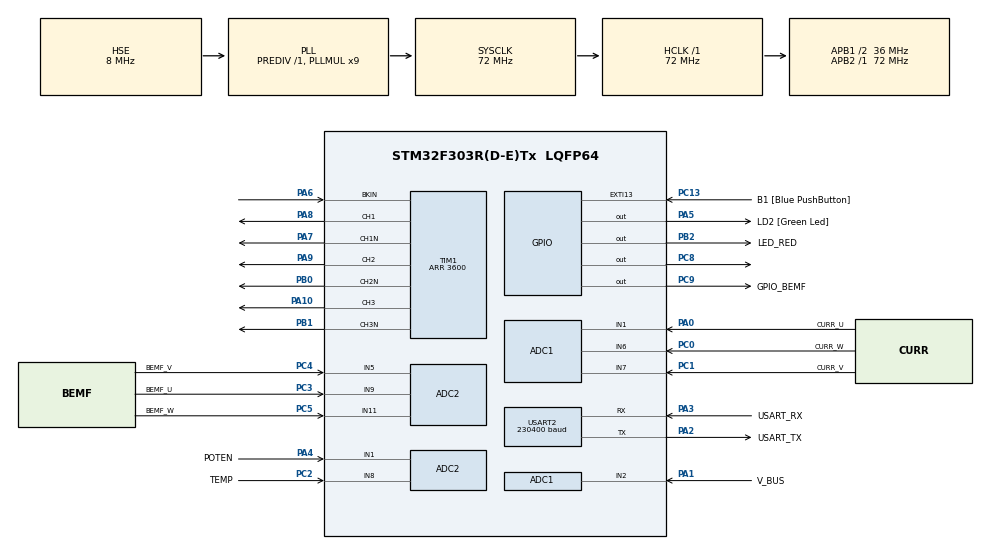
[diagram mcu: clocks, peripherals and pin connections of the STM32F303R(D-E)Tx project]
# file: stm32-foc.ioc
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ADC1.Channel-0\#ChannelRegularConversion=ADC_CHANNEL_2
ADC1.ClockPrescaler=ADC_CLOCK_SYNC_PCLK_DIV1
ADC1.EOCSelection=ADC_EOC_SEQ_CONV
ADC1.ExternalTrigInjecConv=ADC_EXTERNALTRIGINJECCONV_T1_CC4
ADC1.ExternalTrigInjecConvEdge=ADC_EXTERNALTRIGINJECCONV_EDGE_FALLING
ADC1.InjNumberOfConversion=4
ADC1.InjectedChannel-1\#ChannelInjectedConversion=ADC_CHANNEL_1
ADC1.InjectedChannel-2\#ChannelInjectedConversion=ADC_CHANNEL_7
ADC1.InjectedChannel-3\#ChannelInjectedConversion=ADC_CHANNEL_6
ADC1.InjectedChannel-4\#ChannelInjectedConversion=ADC_CHANNEL_2
ADC1.InjectedConvMode=None
ADC1.InjectedOffset-1\#ChannelInjectedConversion=0
ADC1.InjectedOffset-2\#ChannelInjectedConversion=0
ADC1.InjectedOffset-3\#ChannelInjectedConversion=0
ADC1.InjectedOffset-4\#ChannelInjectedConversion=0
ADC1.InjectedOffsetNumber-1\#ChannelInjectedConversion=ADC_OFFSET_NONE
ADC1.InjectedOffsetNumber-2\#ChannelInjectedConversion=ADC_OFFSET_NONE
ADC1.InjectedOffsetNumber-3\#ChannelInjectedConversion=ADC_OFFSET_NONE
ADC1.InjectedOffsetNumber-4\#ChannelInjectedConversion=ADC_OFFSET_NONE
ADC1.InjectedRank-1\#ChannelInjectedConversion=1
ADC1.InjectedRank-2\#ChannelInjectedConversion=2
ADC1.InjectedRank-3\#ChannelInjectedConversion=3
ADC1.InjectedRank-4\#ChannelInjectedConversion=4
ADC1.InjectedSamplingTime-1\#ChannelInjectedConversion=ADC_SAMPLETIME_1CYCLE_5
ADC1.InjectedSamplingTime-2\#ChannelInjectedConversion=ADC_SAMPLETIME_1CYCLE_5
ADC1.InjectedSamplingTime-3\#ChannelInjectedConversion=ADC_SAMPLETIME_1CYCLE_5
ADC1.InjectedSamplingTime-4\#ChannelInjectedConversion=ADC_SAMPLETIME_1CYCLE_5
ADC1.InjectedSamplingTimeOPAMP-1\#ChannelInjectedConversion=ADC_SAMPLETIME_61CYCLES_5
ADC1.InjectedSamplingTimeOPAMP-2\#ChannelInjectedConversion=ADC_SAMPLETIME_61CYCLES_5
ADC1.InjectedSamplingTimeOPAMP-3\#ChannelInjectedConversion=ADC_SAMPLETIME_61CYCLES_5
ADC1.InjectedSamplingTimeOPAMP-4\#ChannelInjectedConversion=ADC_SAMPLETIME_61CYCLES_5
ADC1.NbrOfConversion=1
ADC1.NbrOfConversionFlag=1
ADC1.Offset-0\#ChannelRegularConversion=0
ADC1.OffsetNumber-0\#ChannelRegularConversion=ADC_OFFSET_NONE
ADC1.QueueInjectedContext=DISABLE
ADC1.Rank-0\#ChannelRegularConversion=1
ADC1.Rank1_Channel=ADC_CHANNEL_1
ADC1.Rank2_Channel=ADC_CHANNEL_7
ADC1.Rank3_Channel=ADC_CHANNEL_6
ADC1.Rank4_Channel=ADC_CHANNEL_2
ADC1.SamplingTime-0\#ChannelRegularConversion=ADC_SAMPLETIME_1CYCLE_5
ADC1.SequencerNbRanks=0
ADC1.master=1
ADC2.Channel-0\#ChannelRegularConversion=ADC_CHANNEL_1
ADC2.Channel-1\#ChannelRegularConversion=ADC_CHANNEL_8
ADC2.ClockPrescaler=ADC_CLOCK_SYNC_PCLK_DIV1
ADC2.NbrOfConversion=2
ADC2.NbrOfConversionFlag=1
ADC2.Offset-0\#ChannelRegularConversion=0
ADC2.Offset-1\#ChannelRegularConversion=0
ADC2.OffsetNumber-0\#ChannelRegularConversion=ADC_OFFSET_NONE
ADC2.OffsetNumber-1\#ChannelRegularConversion=ADC_OFFSET_NONE
ADC2.Rank-0\#ChannelRegularConversion=1
ADC2.Rank-1\#ChannelRegularConversion=2
ADC2.SamplingTime-0\#ChannelRegularConversion=ADC_SAMPLETIME_1CYCLE_5
ADC2.SamplingTime-1\#ChannelRegularConversion=ADC_SAMPLETIME_1CYCLE_5
ADC2.SamplingTimeOPAMP-1\#ChannelRegularConversion=ADC_SAMPLETIME_61CYCLES_5
ADC2.SequencerNbRanks=1
FREERTOS.Tasks01=defaultTask,24,128,StartDefaultTask,Default,NULL,Dynamic,NULL,NULL
FREERTOS.configTOTAL_HEAP_SIZE=32768
FREERTOS.configUSE_NEWLIB_REENTRANT=1
Mcu.Family=STM32F3
Mcu.Name=STM32F303R(D-E)Tx
Mcu.Package=LQFP64
NVIC.ADC1_2_IRQn=true\:5\:0\:true\:false\:true\:true\:true\:true\:true
NVIC.PriorityGroup=NVIC_PRIORITYGROUP_4
NVIC.TIM1_TRG_COM_TIM17_IRQn=true\:15\:0\:false\:false\:true\:false\:false\:true\:true
NVIC.TimeBase=TIM1_TRG_COM_TIM17_IRQn
NVIC.TimeBaseIP=TIM17
PA0.GPIO_Label=CURR_U
PA0.Mode=IN1-Single-Ended
PA0.Signal=ADC1_IN1
PA1.GPIO_Label=V_BUS
PA1.Mode=IN2-Single-Ended
PA1.Signal=ADC1_IN2
PA10.Signal=S_TIM1_CH3
PA13.GPIO_Label=TMS
PA13.Mode=Serial_Wire
PA13.Signal=SYS_JTMS-SWDIO
PA14.GPIO_Label=TCK
PA14.Mode=Serial_Wire
PA14.Signal=SYS_JTCK-SWCLK
PA2.GPIO_Label=USART_TX
PA2.GPIO_Mode=GPIO_MODE_AF_PP
PA2.GPIO_PuPd=GPIO_NOPULL
PA2.GPIO_Speed=GPIO_SPEED_FREQ_LOW
PA2.Mode=Asynchronous
PA2.Signal=USART2_TX
PA3.GPIO_Label=USART_RX
PA3.GPIO_Mode=GPIO_MODE_AF_PP
PA3.GPIO_PuPd=GPIO_NOPULL
PA3.GPIO_Speed=GPIO_SPEED_FREQ_LOW
PA3.Mode=Asynchronous
PA3.Signal=USART2_RX
PA4.GPIO_Label=POTEN
PA4.Mode=IN1-Single-Ended
PA4.Signal=ADC2_IN1
PA5.GPIO_Label=LD2 [Green Led]
PA5.GPIO_Mode=GPIO_MODE_OUTPUT_PP
PA5.GPIO_PuPd=GPIO_NOPULL
PA5.GPIO_Speed=GPIO_SPEED_FREQ_LOW
PA5.Signal=GPIO_Output
PA6.Mode=Activate-Break-Input
PA6.Signal=TIM1_BKIN
PA7.Mode=PWM Generation1 CH1 CH1N
PA7.Signal=TIM1_CH1N
PA8.Signal=S_TIM1_CH1
PA9.Signal=S_TIM1_CH2
PB0.Mode=PWM Generation2 CH2 CH2N
PB0.Signal=TIM1_CH2N
PB1.Mode=PWM Generation3 CH3 CH3N
PB1.Signal=TIM1_CH3N
PB2.GPIO_Label=LED_RED
PB2.Signal=GPIO_Output
PB3.GPIO_Label=SWO
PB3.Signal=SYS_JTDO-TRACESWO
PC0.GPIO_Label=CURR_W
PC0.Signal=ADCx_IN6
PC1.GPIO_Label=CURR_V
PC1.Signal=ADCx_IN7
PC13.GPIO_Label=B1 [Blue PushButton]
PC13.GPIO_ModeDefaultEXTI=GPIO_MODE_IT_FALLING
PC13.Signal=GPXTI13
PC14-OSC32_IN.Mode=LSE-External-Oscillator
PC14-OSC32_IN.Signal=RCC_OSC32_IN
PC15-OSC32_OUT.Mode=LSE-External-Oscillator
PC15-OSC32_OUT.Signal=RCC_OSC32_OUT
PC2.GPIO_Label=TEMP
PC2.Signal=ADCx_IN8
PC3.GPIO_Label=BEMF_U
PC3.Signal=ADCx_IN9
PC4.GPIO_Label=BEMF_V
PC4.Mode=IN5-Single-Ended
PC4.Signal=ADC2_IN5
PC5.GPIO_Label=BEMF_W
PC5.Mode=IN11-Single-Ended
PC5.Signal=ADC2_IN11
PC8.Signal=GPIO_Output
PC9.GPIO_Label=GPIO_BEMF
PC9.Signal=GPIO_Output
PF0-OSC_IN.Mode=HSE-External-Clock-Source
PF0-OSC_IN.Signal=RCC_OSC_IN
PF1-OSC_OUT.Signal=RCC_OSC_OUT
ProjectManager.HeapSize=0x600
ProjectManager.StackSize=0xC00
ProjectManager.TargetToolchain=STM32CubeIDE
RCC.AHBFreq_Value=72000000
RCC.APB1CLKDivider=RCC_HCLK_DIV2
RCC.APB1Freq_Value=36000000
RCC.APB1TimFreq_Value=72000000
RCC.APB2Freq_Value=72000000
RCC.APB2TimFreq_Value=72000000
RCC.CortexFreq_Value=72000000
RCC.HCLKFreq_Value=72000000
RCC.HSE_VALUE=8000000
RCC.HSI_VALUE=8000000
RCC.PLLM=8
RCC.PLLMUL=RCC_PLL_MUL9
RCC.PLLN=336
RCC.PLLP=RCC_PLLP_DIV4
RCC.PLLQ=7
RCC.PLLSourceVirtual=RCC_PLLSOURCE_HSE
RCC.RCC_PLLsource_Clock_Source_FROM_HSE=RCC_HSE_PREDIV_DIV2
RCC.SYSCLKFreq_VALUE=72000000
RCC.SYSCLKSourceVirtual=RCC_SYSCLKSOURCE_PLLCLK
RCC.USBFreq_Value=72000000
SH.ADCx_IN6.0=ADC1_IN6,IN6-Single-Ended
SH.ADCx_IN7.0=ADC1_IN7,IN7-Single-Ended
SH.ADCx_IN8.0=ADC2_IN8,IN8-Single-Ended
SH.ADCx_IN9.0=ADC2_IN9,IN9-Single-Ended
SH.S_TIM1_CH1.0=TIM1_CH1,PWM Generation1 CH1 CH1N
SH.S_TIM1_CH2.0=TIM1_CH2,PWM Generation2 CH2 CH2N
SH.S_TIM1_CH3.0=TIM1_CH3,PWM Generation3 CH3 CH3N
TIM1.AutoReloadPreload=TIM_AUTORELOAD_PRELOAD_DISABLE
TIM1.AutomaticOutput=TIM_AUTOMATICOUTPUT_DISABLE
TIM1.BreakPolarity=TIM_BREAKPOLARITY_LOW
TIM1.Channel-PWM\ Generation1\ CH1\ CH1N=TIM_CHANNEL_1
TIM1.Channel-PWM\ Generation2\ CH2\ CH2N=TIM_CHANNEL_2
TIM1.Channel-PWM\ Generation3\ CH3\ CH3N=TIM_CHANNEL_3
TIM1.Channel-PWM\ Generation4\ No\ Output=TIM_CHANNEL_4
TIM1.CounterMode=TIM_COUNTERMODE_CENTERALIGNED1
TIM1.DeadTime=5
TIM1.OCFastMode_PWM-PWM\ Generation1\ CH1\ CH1N=TIM_OCFAST_ENABLE
TIM1.OCFastMode_PWM-PWM\ Generation2\ CH2\ CH2N=TIM_OCFAST_ENABLE
TIM1.OCFastMode_PWM-PWM\ Generation3\ CH3\ CH3N=TIM_OCFAST_ENABLE
TIM1.OCFastMode_PWM-PWM\ Generation4\ No\ Output=TIM_OCFAST_ENABLE
TIM1.OCNIdleState_1=TIM_OCNIDLESTATE_SET
TIM1.OCNIdleState_2=TIM_OCNIDLESTATE_SET
TIM1.OCNIdleState_3=TIM_OCNIDLESTATE_SET
TIM1.OCNPolarity_1=TIM_OCNPOLARITY_LOW
TIM1.OCNPolarity_2=TIM_OCNPOLARITY_LOW
TIM1.OCNPolarity_3=TIM_OCNPOLARITY_LOW
TIM1.OffStateIDLEMode=TIM_OSSI_ENABLE
TIM1.OffStateRunMode=TIM_OSSR_ENABLE
TIM1.Period=3600
TIM1.TIM_MasterOutputTrigger=TIM_TRGO_UPDATE
USART2.BaudRate=230400
USART2.VirtualMode-Asynchronous=VM_ASYNC
VP_FREERTOS_VS_CMSIS_V2.Mode=CMSIS_V2
VP_SYS_VS_tim17.Mode=TIM17
VP_TIM1_VS_ClockSourceINT.Mode=Internal
VP_TIM1_VS_no_output4.Mode=PWM Generation4 No Output
board=NUCLEO-F303RE

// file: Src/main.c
/* USER CODE BEGIN Header */
/**
 ******************************************************************************
 * @file           : main.c
 * @brief          : Main program body
 ******************************************************************************
 * @attention
 *
 * Copyright (c) 2026 STMicroelectronics.
 * All rights reserved.
 *
 * This software is licensed under terms that can be found in the LICENSE file
 * in the root directory of this software component.
 * If no LICENSE file comes with this software, it is provided AS-IS.
 *
 ******************************************************************************
 */
/* USER CODE END Header */
#include "main.h"
#include "cmsis_os.h"
#include "adc.h"
#include "tim.h"
#include "usart.h"
#include "gpio.h"

void SystemClock_Config(void);
void MX_FREERTOS_Init(void);

int main(void)
{

  /* USER CODE BEGIN 1 */
  // Copy the time-critical code (FOC_FAST_CODE, section .ccmram) from flash into CCM SRAM
  // before anything can call it. The startup file only copies .data. Symbols from the
  // stock linker script; an empty section makes this a no-op.
  extern uint32_t _siccmram, _sccmram, _eccmram;
  for (uint32_t *src = &_siccmram, *dst = &_sccmram; dst < &_eccmram;)
  {
    *dst++ = *src++;
  }
  __DSB();
  __ISB(); // Fetch the copied code, not anything prefetched before the copy
  /* USER CODE END 1 */

  /* MCU Configuration--------------------------------------------------------*/

  /* Reset of all peripherals, Initializes the Flash interface and the Systick. */
  HAL_Init();

  /* Configure the system clock */
  SystemClock_Config();

  /* Initialize all configured peripherals */
  MX_GPIO_Init();
  MX_ADC1_Init();
  MX_TIM1_Init();
  MX_USART2_UART_Init();
  MX_ADC2_Init();

  /* Init scheduler */
  osKernelInitialize();  /* Call init function for freertos objects (in cmsis_os2.c) */
  MX_FREERTOS_Init();

  /* Start scheduler */
  osKernelStart();

  /* We should never get here as control is now taken by the scheduler */

  /* Infinite loop */
    while (1)
    {

    }
}

void SystemClock_Config(void)
{
  RCC_OscInitTypeDef RCC_OscInitStruct = {0};
  RCC_ClkInitTypeDef RCC_ClkInitStruct = {0};
  RCC_PeriphCLKInitTypeDef PeriphClkInit = {0};

  /** Initializes the RCC Oscillators according to the specified parameters
  * in the RCC_OscInitTypeDef structure.
  */
  RCC_OscInitStruct.OscillatorType = RCC_OSCILLATORTYPE_HSE;
  RCC_OscInitStruct.HSEState = RCC_HSE_BYPASS;
  RCC_OscInitStruct.HSIState = RCC_HSI_ON;
  RCC_OscInitStruct.PLL.PLLState = RCC_PLL_ON;
  RCC_OscInitStruct.PLL.PLLSource = RCC_PLLSOURCE_HSE;
  RCC_OscInitStruct.PLL.PLLMUL = RCC_PLL_MUL9;
  RCC_OscInitStruct.PLL.PREDIV = RCC_PREDIV_DIV1;
  if (HAL_RCC_OscConfig(&RCC_OscInitStruct) != HAL_OK)
  {
    Error_Handler();
  }

  /** Initializes the CPU, AHB and APB buses clocks
  */
  RCC_ClkInitStruct.ClockType = RCC_CLOCKTYPE_HCLK|RCC_CLOCKTYPE_SYSCLK
                              |RCC_CLOCKTYPE_PCLK1|RCC_CLOCKTYPE_PCLK2;
  RCC_ClkInitStruct.SYSCLKSource = RCC_SYSCLKSOURCE_PLLCLK;
  RCC_ClkInitStruct.AHBCLKDivider = RCC_SYSCLK_DIV1;
  RCC_ClkInitStruct.APB1CLKDivider = RCC_HCLK_DIV2;
  RCC_ClkInitStruct.APB2CLKDivider = RCC_HCLK_DIV1;

  if (HAL_RCC_ClockConfig(&RCC_ClkInitStruct, FLASH_LATENCY_2) != HAL_OK)
  {
    Error_Handler();
  }
  PeriphClkInit.PeriphClockSelection = RCC_PERIPHCLK_USART2|RCC_PERIPHCLK_TIM1;
  PeriphClkInit.Usart2ClockSelection = RCC_USART2CLKSOURCE_PCLK1;
  PeriphClkInit.Tim1ClockSelection = RCC_TIM1CLK_HCLK;
  if (HAL_RCCEx_PeriphCLKConfig(&PeriphClkInit) != HAL_OK)
  {
    Error_Handler();
  }
}

void HAL_TIM_PeriodElapsedCallback(TIM_HandleTypeDef *htim)
{
  if (htim->Instance == TIM17)
  {
    HAL_IncTick();
  }
}

void Error_Handler(void)
{
    __disable_irq();
    while (1)
    {
    }
}

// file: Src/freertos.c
/* USER CODE BEGIN Header */
/**
 ******************************************************************************
 * File Name          : freertos.c
 * Description        : foc-lib demo / bench application for the STM32F303RE port
 *                      (Nucleo-F303RE + X-NUCLEO-IHM08M1)
 ******************************************************************************
 * @attention
 *
 * Copyright (c) 2026 STMicroelectronics.
 * All rights reserved.
 *
 * This software is licensed under terms that can be found in the LICENSE file
 * in the root directory of this software component.
 * If no LICENSE file comes with this software, it is provided AS-IS.
 *
 ******************************************************************************
 */
/* USER CODE END Header */

#include "FreeRTOS.h"
#include "task.h"
#include "main.h"
#include "cmsis_os.h"

/* USER CODE BEGIN Includes */
// How this demo uses foc-lib (see the porting guide at the top of foc_lib.h):
//
//   MX_FREERTOS_Init     TIM1 at PWM_FREQ (TIMER_config), FOC_Init, start the ADC interrupt.
//   ISR (ADC injected    HAL_ADCEx_InjectedConvCpltCallback: ADC counts -> FOC_Update -> TIM1
//   end of sequence)     compare registers, and the bridge on/off for foc.outputs_enabled.
//   StartDefaultTask     the demo sequence, one function per step:
//                        1. PWM on, measure the zero-current offsets   Measure_Current_Offsets
//                           (motor at rest)
//                        2. check the bus voltage                      Bus_Voltage_OK
//                        3. calibrate Rs, Ld, Lq, apply them           Calibrate
//                           (optional; FOC_Init has the foc_lib.h defaults)
//                        4. saliency sweep (diagnostic only,           Saliency_Sweep
//                           RUN_SALIENCY_SWEEP)
//                        5. speed test with a log (RUN_FOC_TEST,       Speed_Test
//                           TEST_PROFILE): start, follow the profile,
//                           report and stop, coast check
//
// The control runs entirely in the ISR (current loop, observers, startup, speed loop at 1 kHz):
// a task only sets targets (foc.speed_ref / foc.is_ref) and reads the state. Keep printf and
// anything blocking out of the ISR.
#include <stdio.h>
#include <math.h>
#include "usart.h"
#include "tim.h"
#include "adc.h"
#include "foc_lib.h"
/* USER CODE END Includes */

/* USER CODE BEGIN PD */
// ---- Demo options (which steps run, and the speed test) ---------------------
#define RUN_SALIENCY_SWEEP 1 // 1: after calibration, Ld-type injection at SWEEP_POINTS angles (diagnostic)
#define SWEEP_POINTS 24
#define RUN_FOC_TEST 1 // 1: run the speed test after calibration; 0: stop there
#define RUN_DIRECTION NORMAL_DIRECTION // NORMAL_DIRECTION or REVERSE_DIRECTION
#define TEST_I_MAX 5.0f // Current cap during the test (A). Recommended on a bench: well below I_RATED,
                        // and keep the input power below what the supply can deliver
#define TEST_PROFILE 5 // Speed reference over time (rad/s el), see Test_Speed_Ref:
                       // 0: 1500, 2500 from 3 s
                       // 1: gentle staircase for a propeller load: 1500, ramps to 2000 and 2500
                       //    (the bench 12 V 5 A supply collapses at ~20 W: slow ramps, no 3000)
                       // 2: 1500, 150 from 2.5 s (coasts down through eSMO -> HFI), 0 from 8.5 s,
                       //    1500 from 10 s
                       // 3: slow sweep down for HFI_SHADOW_TEST: 1500, then 800 -> 100 at 100 rad/s^2
                       // 4: HFI from standstill: 150, 0 from 5 s, 150 from 6.5 s, 1500 from 8 s
                       // 5: low-speed steps: 1500, 150 from 2 s, 75, 50, 20, 0 every 1.5 s,
                       //    150 from 9.5 s, 1500 from 11 s (without HFI the motor stops below
                       //    FOC_Min_Speed and restarts above it)
#define HFI_SHADOW_TEST 0 // Test only. 1: measure the eSMO's low-speed limit (with TEST_PROFILE 3,
                          // then tools/hfi_threshold.py on the log): Align -> I-f start, the HFI
                          // tracker is logged beside the eSMO but never takes control
#ifndef ADC_INJ_SMP
#define ADC_INJ_SMP 0 // Injected-channel ADC sampling time code: 0 = keep CubeMX (1.5 cycles), 4 = 19.5, 5 = 61.5
#endif

// ---- Constants ---------------------------------------------------------------
#define OFFSET_SAMPLES 64 // Zero-current offset: average of this many samples, 1 ms apart
#define APP_PI 3.14159265359f // For log conversions (foc-lib keeps its constants internal)
#define APP_TWO_PI 6.28318530718f

/* USER CODE END PD */

/* USER CODE BEGIN Variables */
FOC_t foc; // The drive. Written by FOC_Update in the ISR; tasks set targets and read state.

// ISR execution time in CPU cycles (DWT cycle counter, 72 MHz). Budget: 72e6 / PWM_FREQ per period
// (3600 at 20 kHz). isr_cyc: the callback alone. irq_cyc: from ADC1_2_IRQHandler entry (stamped
// into irq_cyc0 in stm32f3xx_it.c) to the end of the callback, i.e. with the dispatch.
// PC8 is also high for the callback's duration (scope).
static volatile uint32_t isr_cyc_last, isr_cyc_max;
volatile uint32_t irq_cyc0;
static volatile uint32_t irq_cyc_last, irq_cyc_max;
/* USER CODE END Variables */
/* Definitions for defaultTask */
osThreadId_t defaultTaskHandle;
const osThreadAttr_t defaultTask_attributes = {
    .name = "defaultTask",
    .stack_size = 128 * 4,
    .priority = (osPriority_t)osPriorityNormal,
};

/* USER CODE BEGIN FunctionPrototypes */
// Recommendation: the default task has 512 B of stack (set in CubeMX / stm32-foc.ioc). printf with
// floats uses much of it, which is why the log prints integers in short printf calls. Raise the
// task's stack in CubeMX before adding deeper code here.

// ============================================================================
// Port layer: console, PWM timer, bridge
// ============================================================================

// printf -> USART2 (ST-Link virtual COM port, 230400 8N1)
#ifndef __PLATFORMIO__
#ifdef __GNUC__
#define PUTCHAR_PROTOTYPE int __io_putchar(int ch)
#else
#define PUTCHAR_PROTOTYPE int fputc(int ch, FILE *f)
#endif
PUTCHAR_PROTOTYPE
{
    HAL_UART_Transmit(&huart2, (uint8_t *)&ch, 1, 0xFFFF);
    return ch;
}
#else
int _write(int file, char *ptr, int len)
{
    HAL_UART_Transmit(&huart2, (uint8_t *)ptr, len, 0xFFFF);
    return len;
}
#endif

// Timer input clock: the APB clock, doubled when the APB prescaler is not 1
static uint32_t get_timer_clock(TIM_HandleTypeDef *htim)
{
    if (htim->Instance == TIM1 || htim->Instance == TIM8)
    {
        uint32_t pclk = HAL_RCC_GetPCLK2Freq(); // On APB2
        return ((RCC->CFGR & RCC_CFGR_PPRE2) != RCC_CFGR_PPRE2_DIV1) ? 2 * pclk : pclk;
    }
    uint32_t pclk = HAL_RCC_GetPCLK1Freq(); // On APB1
    return ((RCC->CFGR & RCC_CFGR_PPRE1) != RCC_CFGR_PPRE1_DIV1) ? 2 * pclk : pclk;
}

// Set TIM1 (centre-aligned) to pwm_freq and store its period in foc->pwm_resolution, which
// FOC_Init then takes as 100 % duty. This overrides the CubeMX PSC/ARR at run time.
int TIMER_config(TIM_HandleTypeDef *timer, FOC_t *foc, float pwm_freq)
{
    if (foc == NULL || timer == NULL)
        return 0;

    const uint32_t timer_clock = get_timer_clock(timer);

    // Centre-aligned: the counter goes up and down, so one PWM period is 2 * (ARR + 1) clocks
    uint32_t prescaler = 0;
    uint32_t period = (timer_clock / (2 * pwm_freq)) - 1;
    if (period > 0xFFFF)
    {
        prescaler = period / 0xFFFF;
        period = (timer_clock / (2 * pwm_freq * (prescaler + 1))) - 1;
    }
    timer->Instance->PSC = prescaler;
    timer->Instance->ARR = period;

    // Channel 4 triggers the injected ADC conversion once per period
    timer->Instance->CCR4 = period - 1;

    // An over-current break (MOE = 0) must turn all six switches off. The CubeMX config leaves
    // OISxN = 0, which with the IHM08M1's active-low L6398 low-side inputs turns every low side ON
    // (brakes a spinning motor through the bridge), and AOE = 1, which re-sets MOE at every update
    // event and undoes the break. Fixed here so it survives regeneration. A break also stops the
    // OC4 ADC trigger, so the control ISR halts with the bridge off until reset.
    timer->Instance->CR2 |= TIM_CR2_OIS1N | TIM_CR2_OIS2N | TIM_CR2_OIS3N;
    timer->Instance->BDTR &= ~TIM_BDTR_AOE;

    foc->pwm_resolution = period;
    return 1;
}

// Start the three PWM pairs and the ADC trigger channel. The bridge itself stays off until
// FOC_Update enables the outputs (Bridge_Outputs below).
void Start_PWM(void)
{
    HAL_TIM_PWM_Start(&htim1, TIM_CHANNEL_1);
    HAL_TIM_PWM_Start(&htim1, TIM_CHANNEL_2);
    HAL_TIM_PWM_Start(&htim1, TIM_CHANNEL_3);
    HAL_TIM_PWM_Start(&htim1, TIM_CHANNEL_4);

    htim1.Instance->CCR4 = htim1.Instance->ARR - 1; // ADC trigger

    HAL_TIMEx_PWMN_Start(&htim1, TIM_CHANNEL_1);
    HAL_TIMEx_PWMN_Start(&htim1, TIM_CHANNEL_2);
    HAL_TIMEx_PWMN_Start(&htim1, TIM_CHANNEL_3);
}

// Bridge on/off for foc.outputs_enabled. Off switches the six gate pins from TIM1 (AF6) to GPIO
// outputs at their inactive levels: HIN (PA8/9/10) low, LIN (PA7, PB0, PB1) high, since the
// IHM08M1's L6398 low-side input is active-low. MOE is NOT used for this: the injected ADC is
// triggered by the OC4 output, which MOE also gates, so clearing MOE stops the control ISR.
static void Bridge_Outputs(bool enable)
{
    const uint32_t mask_a = (3u << (7 * 2)) | (3u << (8 * 2)) | (3u << (9 * 2)) | (3u << (10 * 2));
    const uint32_t mask_b = (3u << (0 * 2)) | (3u << (1 * 2));

    if (enable)
    {
        GPIOA->MODER = (GPIOA->MODER & ~mask_a) | (0xAAAAAAAAu & mask_a); // 10 = alternate function
        GPIOB->MODER = (GPIOB->MODER & ~mask_b) | (0xAAAAAAAAu & mask_b);
    }
    else
    {
        GPIOA->BSRR = GPIO_PIN_7 | ((uint32_t)(GPIO_PIN_8 | GPIO_PIN_9 | GPIO_PIN_10) << 16);
        GPIOB->BSRR = GPIO_PIN_0 | GPIO_PIN_1;
        GPIOA->MODER = (GPIOA->MODER & ~mask_a) | (0x55555555u & mask_a); // 01 = general output
        GPIOB->MODER = (GPIOB->MODER & ~mask_b) | (0x55555555u & mask_b);
    }
}

// ============================================================================
// Demo steps (task context), in the order StartDefaultTask runs them
// ============================================================================

// ---- Step 1: zero-current offsets -------------------------------------------
// The current-sense chain reads ADC_RES / 2 plus an offset at zero current. Measure it with the
// motor at rest and the bridge off (FOC_Init leaves it off); averaging removes the ADC noise.
static void Measure_Current_Offsets(void)
{
    uint32_t sum_a = 0, sum_b = 0, sum_c = 0;
    for (int i = 0; i < OFFSET_SAMPLES; i++)
    {
        osDelay(1); // One new ISR sample per 1 ms is plenty: the readings are only averaged
        sum_a += foc.adc_v_a;
        sum_b += foc.adc_v_b;
        sum_c += foc.adc_v_c;
    }
    foc.adc_offset_a = (uint16_t)((sum_a + OFFSET_SAMPLES / 2) / OFFSET_SAMPLES); // Rounded mean
    foc.adc_offset_b = (uint16_t)((sum_b + OFFSET_SAMPLES / 2) / OFFSET_SAMPLES);
    foc.adc_offset_c = (uint16_t)((sum_c + OFFSET_SAMPLES / 2) / OFFSET_SAMPLES);
    printf("Current-sense offsets (ADC counts): A %d, B %d, C %d\r\n", foc.adc_offset_a, foc.adc_offset_b,
           foc.adc_offset_c);
}

// ---- Step 2: bus voltage ----------------------------------------------------
// Without (enough) bus voltage the calibration measures garbage and nothing can run.
static bool Bus_Voltage_OK(void)
{
    if (foc.v_bus >= V_BUS_MIN)
        return true;
    printf("!! Vbus = %f V < V_BUS_MIN (%f V): motor supply off? Calibration and run skipped.\r\n", foc.v_bus,
           V_BUS_MIN);
    return false;
}

// ---- Step 3: calibration (Rs, Ld, Lq) ---------------------------------------
// Each run is started with FOC_Start_Measurement, executed by the ISR, and evaluated here once
// it has finished. Recommendation: run it once per motor and keep the results (foc.bldc) if the
// start-up time matters; FOC_Init's defaults are the foc_lib.h values.

// Wait for the run started with FOC_Start_Measurement. Returns false on an over-current abort.
static bool Wait_Measurement(void)
{
    while (FOC_Measurement_Busy(&foc))
        osDelay(1);
    return !foc.inj_fault;
}

// Current-sign check on the recorded Rs run. The Rs run is DC on phase A (v_d > 0 at theta = 0),
// so a correct sense chain gives i_a > 0 and i_b ~ -i_a / 2 (phases B and C share the return
// current). The calibration itself cannot see a wrong CURRENT_SENSE_POLARITY (it uses
// magnitudes), and an i_b far from -i_a / 2 points at a bad phase connection (T200 bench).
// A drift between the first and last samples means the rotor still moved while Rs was recorded.
static void Print_Rs_Run_Check(void)
{
    float m_id = 0.0f, m_ia = 0.0f, m_ib = 0.0f, first = 0.0f, last = 0.0f;
    for (int i = 0; i < INJECTION_ROUNDS; i++)
    {
        m_id += foc.id_inj_buff[i];
        m_ia += foc.i_a_buff[i];
        m_ib += foc.i_b_buff[i];
    }
    for (int i = 0; i < 32; i++)
    {
        first += foc.id_inj_buff[i];
        last += foc.id_inj_buff[INJECTION_ROUNDS - 32 + i];
    }
    printf("  signed means: i_d %f, i_a %f, i_b %f A (expect i_a > 0, i_b ~ -i_a/2)\r\n",
           m_id / INJECTION_ROUNDS, m_ia / INJECTION_ROUNDS, m_ib / INJECTION_ROUNDS);
    printf("  i_d first/last 32 samples: %f / %f A\r\n", first / 32.0f, last / 32.0f);
}

static void Calibrate(void)
{
    // 3a. Rs: the library ramps a DC voltage until the current reaches CAL_CURRENT (no motor
    //     constant needed), then takes Rs from two levels
    printf("Measuring Rs...\r\n");
    FOC_Start_Measurement(&foc, MOTOR_ESTIMATION_RS, 0.0f);
    if (Wait_Measurement())
        FOC_BLDC_Parameter_Calculation_Resistance(&foc);
    else
        printf("  !! aborted (over %f A, or %f A not reached: no bus / open winding): Rs not updated\r\n",
               (double)INJECTION_MAX_CURRENT, (double)CAL_CURRENT);
    printf("  Rs = %f ohm (ramp reached %f V)\r\n", foc.bldc.Rs, foc.inj_v);
    Print_Rs_Run_Check();

    // 3b. Ld and Lq: 1 kHz injection on the d-axis, then on the q-axis (rotor held on d).
    //     Both runs must succeed before the result is used.
    printf("Measuring Ld, Lq...\r\n");
    FOC_Start_Measurement(&foc, MOTOR_ESTIMATION_LD, 0.0f);
    bool ok = Wait_Measurement();
    FOC_Start_Measurement(&foc, MOTOR_ESTIMATION_LQ, 0.0f);
    ok = Wait_Measurement() && ok;
    if (ok)
        FOC_BLDC_Parameter_Calculation_Inductance(&foc);
    else
        printf("  !! aborted on over-current: Ld/Lq not updated\r\n");
    printf("  Ld = %e H, Lq = %e H\r\n", foc.bldc.Ld, foc.bldc.Lq);

    // 3c. Apply the measured values to the current loops, the observer and HFI
    FOC_Recalc_Params(&foc);
    printf("  HFI amplitude %f V\r\n", foc.hfi_v);
}

#if RUN_SALIENCY_SWEEP
// ---- Step 4 (diagnostic): saliency sweep ------------------------------------
// The 1 kHz Ld-type injection along SWEEP_POINTS angles with the rotor at rest (where the Rs run
// aligned it), then a fit L(phi) = A0 + A1 cos(phi - p1) + A2 cos(2 phi - 2 p2). A2 is the
// saliency HFI relies on (min L on the rotor's d-axis, here near 0 or 180 deg); A1 should be ~0
// (the rotor did not move). Not needed to run the motor: the HFI start probes saliency itself.
static void Saliency_Sweep(void)
{
    static float L[SWEEP_POINTS], xr[SWEEP_POINTS], xi[SWEEP_POINTS]; // static: off the small task stack

    // 4a. Measure the inductance along each angle
    printf("Saliency sweep (%d points, 1 kHz, %f V):\r\n  deg  L_axis(nH)  cross_re(x1e4)  cross_im(x1e4)\r\n",
           SWEEP_POINTS, (double)(CAL_CURRENT * foc.bldc.Rs));
    for (int k = 0; k < SWEEP_POINTS; k++)
    {
        FOC_Start_Measurement(&foc, MOTOR_ESTIMATION_LD, (float)k * (APP_TWO_PI / SWEEP_POINTS));
        if (!Wait_Measurement() || !FOC_BLDC_Saliency_Point(&foc, &L[k], &xr[k], &xi[k]))
        {
            printf("  !! sweep aborted (over-current or no current)\r\n");
            return;
        }
        printf("  %3d  %6d  %6d  %6d\r\n", k * 360 / SWEEP_POINTS, (int)(L[k] * 1e9f), (int)(xr[k] * 1e4f),
               (int)(xi[k] * 1e4f));
    }

    // 4b. Fourier coefficients of the 0th, 1st and 2nd harmonics (and the cross-axis 2nd)
    float s0 = 0, c1 = 0, s1 = 0, c2 = 0, s2 = 0, xc2 = 0, xs2 = 0;
    for (int k = 0; k < SWEEP_POINTS; k++)
    {
        const float p = (float)k * (APP_TWO_PI / SWEEP_POINTS);
        s0 += L[k];
        c1 += L[k] * cosf(p);
        s1 += L[k] * sinf(p);
        c2 += L[k] * cosf(2.0f * p);
        s2 += L[k] * sinf(2.0f * p);
        xc2 += xr[k] * cosf(2.0f * p);
        xs2 += xr[k] * sinf(2.0f * p);
    }
    const float n = (float)SWEEP_POINTS;
    const float A0 = s0 / n, A1 = 2.0f * sqrtf(c1 * c1 + s1 * s1) / n, A2 = 2.0f * sqrtf(c2 * c2 + s2 * s2) / n;
    const float p2 = 0.5f * atan2f(s2, c2); // Angle of max L (q-axis)
    const float X2 = 2.0f * sqrtf(xc2 * xc2 + xs2 * xs2) / n;

    // 4c. Residual after the fit: the measurement noise floor
    float res = 0.0f;
    for (int k = 0; k < SWEEP_POINTS; k++)
    {
        const float p = (float)k * (APP_TWO_PI / SWEEP_POINTS);
        const float fit = A0 + 2.0f / n * (c1 * cosf(p) + s1 * sinf(p) + c2 * cosf(2.0f * p) + s2 * sinf(2.0f * p));
        res += (L[k] - fit) * (L[k] - fit);
    }
    res = sqrtf(res / n);

    printf("  fit: L0 %d nH, A2 %d nH (min-L axis %d deg el, mod 180), A1 %d nH, residual rms %d nH\r\n",
           (int)(A0 * 1e9f), (int)(A2 * 1e9f), (int)((p2 + 0.5f * APP_PI) * (180.0f / APP_PI)) % 180,
           (int)(A1 * 1e9f), (int)(res * 1e9f));
    printf("  -> Ld ~ %d nH, Lq ~ %d nH; cross-axis 2nd harmonic %d x1e-4 of the axis current\r\n",
           (int)((A0 - A2) * 1e9f), (int)((A0 + A2) * 1e9f), (int)(X2 * 1e4f));
}
#endif

#if RUN_FOC_TEST
// ---- Step 5: speed test -----------------------------------------------------

// Speed reference of the TEST_PROFILE at t_ms after the start (rad/s el, in RUN_DIRECTION), and
// TEST_ROWS, the number of 20 ms log rows. The library ramps speed_ref at SPEED_REF_SLEW, and the
// drive is motoring only: a lower reference lets the motor coast down by its load.
#if TEST_PROFILE == 0
#define TEST_ROWS 250
static float Test_Speed_Ref(uint32_t t_ms) { return (t_ms >= 3000) ? 2500.0f : 1500.0f; }
#elif TEST_PROFILE == 1
#define TEST_ROWS 400
static float Test_Speed_Ref(uint32_t t_ms)
{
    if (t_ms < 2500)
        return 1500.0f;
    if (t_ms < 3500)
        return 1500.0f + 0.5f * (float)(t_ms - 2500); // 500 rad/s^2
    if (t_ms < 4500)
        return 2000.0f;
    if (t_ms < 6500)
        return 2000.0f + 0.25f * (float)(t_ms - 4500); // 250 rad/s^2
    return 2500.0f;
}
#elif TEST_PROFILE == 2
#define TEST_ROWS 600
static float Test_Speed_Ref(uint32_t t_ms)
{
    return (t_ms >= 10000) ? 1500.0f : (t_ms >= 8500) ? 0.0f : (t_ms >= 2500) ? 150.0f : 1500.0f;
}
#elif TEST_PROFILE == 3
#define TEST_ROWS 550
static float Test_Speed_Ref(uint32_t t_ms)
{
    if (t_ms < 2500)
        return 1500.0f;
    if (t_ms < 9500)
        return 800.0f - 0.1f * (float)(t_ms - 2500); // 100 rad/s^2
    return 100.0f;
}
#elif TEST_PROFILE == 4
#define TEST_ROWS 550
static float Test_Speed_Ref(uint32_t t_ms)
{
    return (t_ms >= 8000) ? 1500.0f : (t_ms >= 6500) ? 150.0f : (t_ms >= 5000) ? 0.0f : 150.0f;
}
#elif TEST_PROFILE == 5
#define TEST_ROWS 650
static float Test_Speed_Ref(uint32_t t_ms)
{
    return (t_ms >= 11000) ? 1500.0f : (t_ms >= 9500) ? 150.0f : (t_ms >= 8000) ? 0.0f
         : (t_ms >= 6500) ? 20.0f : (t_ms >= 5000) ? 50.0f : (t_ms >= 3500) ? 75.0f
         : (t_ms >= 2000) ? 150.0f : 1500.0f;
}
#else
#error "TEST_PROFILE must be 0..5"
#endif

// Log: one header line, then one row every 20 ms. Integers only (rad/s, mV, mA, 0.1 deg), in two
// short printf calls: the task stack is small. tools/hfi_threshold.py reads the columns by name.
//   t_ms     time since the start      mode     motor_mode: 1 idle, 5 align, 6 I-f, 7 transition,
//                                               8 running, 9 HFI start
//   w_force  forced (I-f) speed        w_ref    ramped speed reference      w_est   eSMO speed
//   emf_mV   eSMO back-EMF             lock     eSMO locked                 cnt     startup lock counter
//   id/iq/ia/ib_mA  currents           vd/vq_mV voltages                    vbus_mV bus voltage
//   brk      TIM1 break flag (over-current latched the outputs off)        moe     TIM1 main output enable
//   isr_cyc / irq_cyc  last ISR time in CPU cycles (callback alone / from IRQ entry)
//   HFI: on = tracker running, ctl = HFI in control, smo_hfi = eSMO minus HFI angle (0.1 deg),
//        w_hfi = HFI speed, zp = HF response (mA), err = tracker error (0.1 deg), flt = HFI fault
static void Log_Header(void)
{
    printf("t_ms mode w_force w_ref w_est emf_mV lock cnt id_mA iq_mA ia_mA ib_mA vd_mV vq_mV vbus_mV brk moe "
           "isr_cyc irq_cyc on ctl smo_hfi w_hfi zp err flt\r\n");
}

static void Log_Row(uint32_t t_ms)
{
    printf("%d %d %d %d %d %d %d %d %d %d %d %d %d %d %d %d %d %d %d", (int)t_ms, (int)foc.motor_mode,
           (int)foc.startup_omega, (int)foc.speed_ref_ramp, (int)foc.smo.omega_est,
           (int)(foc.smo.emf_magnitude * 1000.0f), (int)foc.smo.locked, (int)foc.bemf_counter,
           (int)(foc.i_d * 1000.0f), (int)(foc.i_q * 1000.0f), (int)(foc.i_a * 1000.0f), (int)(foc.i_b * 1000.0f),
           (int)(foc.v_d * 1000.0f), (int)(foc.v_q * 1000.0f), (int)(foc.v_bus * 1000.0f),
           (TIM1->SR & TIM_SR_BIF) ? 1 : 0, (TIM1->BDTR & TIM_BDTR_MOE) ? 1 : 0, (int)isr_cyc_last,
           (int)irq_cyc_last);

    float smo_hfi = foc.smo.theta_est - foc.hfi_theta; // eSMO minus HFI angle, wrapped to +-pi
    if (smo_hfi > APP_PI)
        smo_hfi -= APP_TWO_PI;
    else if (smo_hfi < -APP_PI)
        smo_hfi += APP_TWO_PI;
    printf(" %d %d %d %d %d %d %d\r\n", (int)foc.hfi_on, (int)foc.hfi_control, (int)(smo_hfi * (1800.0f / APP_PI)),
           (int)foc.hfi_omega, (int)(foc.hfi_zp * 1000.0f), (int)(foc.hfi_err * (1800.0f / APP_PI)),
           (int)foc.hfi_fault);
}

// Startup events, printed from the task because FOC_Update runs in the ISR (so up to one log row
// late). last_mode is the motor_mode seen at the previous row.
static void Print_Startup_Events(BLDC_Mode_t last_mode)
{
    // The HFI start has finished: its saliency probe decided whether HFI can run this motor,
    // which also sets FOC_Min_Speed
    if (foc.motor_mode != MOTOR_STARTUP_HFI && last_mode == MOTOR_STARTUP_HFI)
    {
        printf("*** HFI start: probe %d mrad (expect ~-500), |Zp| +pulse %d mA, -pulse %d mA -> polarity %d "
               "(1 kept, -1 flipped, 0 -> Align/I-f)\r\n",
               (int)(foc.hfi_probe_e * 1000.0f), (int)(foc.hfi_zp_pos * 1000.0f), (int)(foc.hfi_zp_neg * 1000.0f),
               (int)foc.hfi_pol);
        printf("*** Min speed %d rad/s el (0: HFI holds any speed)\r\n", (int)FOC_Min_Speed(&foc));
    }
    // Closed loop reached (from the HFI start or from Align -> I-f -> transition)
    if (foc.motor_mode == MOTOR_RUNNING && last_mode != MOTOR_RUNNING)
        printf("*** Startup complete: closed loop at %f rad/s, id = %f A, iq = %f A\r\n", foc.omega, foc.id_ref,
               foc.iq_ref);
}

// 5a. Prepare and start. The calibration leaves the bridge energized, and the direction can only
//     be set with it off.
static void Speed_Test_Start(void)
{
    FOC_Stop(&foc);
    osDelay(2); // The ISR turns the outputs off within one PWM period
    if (!FOC_Set_Direction(&foc, RUN_DIRECTION))
        printf("!! FOC_Set_Direction refused (bridge energized)\r\n");
    FOC_Set_Current_Limit(&foc, TEST_I_MAX);
    foc.hfi_takeover = !HFI_SHADOW_TEST; // Test only (see HFI_SHADOW_TEST)
    foc.speed_ref = Test_Speed_Ref(0);
    // Torque mode instead: foc.is_ref = <A>; FOC_Start(&foc, FOC_TORQUE_CONTROL). Unloaded, a
    // motor in torque mode accelerates until the observer's speed limit: use a load or a speed cap.

    // brk = TIM1 break flag (the IHM08M1 over-current comparator latched the outputs off),
    // moe = TIM1 main output enable. Clear a stale break flag before the run (rc_w0).
    printf("Starting FOC control (before: brk %d, moe %d)\r\n", (TIM1->SR & TIM_SR_BIF) ? 1 : 0,
           (TIM1->BDTR & TIM_BDTR_MOE) ? 1 : 0);
    TIM1->SR = ~TIM_SR_BIF;
    isr_cyc_max = 0;
    irq_cyc_max = 0;
    FOC_Start(&foc, FOC_SPEED_CONTROL);
}

// 5b. Follow the profile for TEST_ROWS rows of 20 ms: set the reference, report events, log.
//     Without HFI, a reference below FOC_Min_Speed makes the library stop the motor (foc_mode
//     becomes FOC_IDLE); the application decides when to start it again: here, once the
//     reference is back at or above the minimum.
static void Speed_Test_Run(void)
{
    const uint32_t t0 = osKernelGetTickCount();
    BLDC_Mode_t last_mode = foc.motor_mode;
    bool stopped = false;

    Log_Header();
    for (int k = 0; k < TEST_ROWS; k++)
    {
        const uint32_t t_ms = osKernelGetTickCount() - t0;
        foc.speed_ref = Test_Speed_Ref(t_ms);

        Print_Startup_Events(last_mode);
        if (!stopped && foc.foc_mode == FOC_IDLE)
        {
            printf("*** Stopped: speed_ref %d below min speed %d rad/s el\r\n", (int)foc.speed_ref,
                   (int)FOC_Min_Speed(&foc));
            stopped = true;
        }
        else if (stopped && foc.speed_ref >= FOC_Min_Speed(&foc))
        {
            printf("*** Restart at speed_ref %d\r\n", (int)foc.speed_ref);
            stopped = false;
            FOC_Start(&foc, FOC_SPEED_CONTROL);
        }
        last_mode = foc.motor_mode;

        Log_Row(t_ms);
        osDelay(20);
    }
}

// 5c. Report and stop. The flux linkage is measured while running on the eSMO (above
//     2 x OMEGA_FORCE). Recommendation: once it has settled, set FLUX_LINKAGE to it
//     (foc_lib_conf.h), so the first start (and FOC_Min_Speed before a run) uses the real value.
static void Speed_Test_Stop(void)
{
    printf("ISR cycles: max %lu, budget %lu per period (%d Hz PWM)\r\n", (unsigned long)isr_cyc_max,
           (unsigned long)(SystemCoreClock / (uint32_t)PWM_FREQ), (int)PWM_FREQ);
    printf("IRQ cycles (handler entry to callback end): max %lu\r\n", (unsigned long)irq_cyc_max);
    printf("Stopping FOC control... (vbus_fault = %d, vbus_uv_fault = %d)\r\n", (int)foc.vbus_fault,
           (int)foc.vbus_uv_fault);
    printf("Flux linkage: measured %d nWb (FLUX_LINKAGE %d nWb)\r\n", (int)(foc.bldc.flux * 1e9f),
           (int)(FLUX_LINKAGE * 1e9f));
    FOC_Stop(&foc);
    FOC_Set_Current_Limit(&foc, I_RATED);
}

// 5d. Coast check: the rotor is still spinning here. With the bridge off, ia/ib must stay ~0;
//     otherwise the bridge still conducts (and brakes the motor).
static void Coast_Check(void)
{
    for (int k = 0; k < 25; k++)
    {
        osDelay(20);
        printf("coast %d: mode %d ia_mA %d ib_mA %d moe %d\r\n", (k + 1) * 20, (int)foc.motor_mode,
               (int)(foc.i_a * 1000.0f), (int)(foc.i_b * 1000.0f), (TIM1->BDTR & TIM_BDTR_MOE) ? 1 : 0);
    }
}

static void Speed_Test(void)
{
    Speed_Test_Start(); // 5a
    Speed_Test_Run();   // 5b
    Speed_Test_Stop();  // 5c
    Coast_Check();      // 5d
}
#endif

/* USER CODE END FunctionPrototypes */

void StartDefaultTask(void *argument);

void MX_FREERTOS_Init(void); /* (MISRA C 2004 rule 8.1) */

void MX_FREERTOS_Init(void)
{
    /* USER CODE BEGIN Init */
    TIMER_config(&htim1, &foc, PWM_FREQ); // TIM1 at PWM_FREQ; sets foc.pwm_resolution
    FOC_Init(&foc, foc.pwm_resolution);    // Library defaults, drive idle, bridge off

    // DWT cycle counter for the ISR timing measurement
    CoreDebug->DEMCR |= CoreDebug_DEMCR_TRCENA_Msk;
    DWT->CYCCNT = 0;
    DWT->CTRL |= DWT_CTRL_CYCCNTENA_Msk;

#if ADC_INJ_SMP
    // Longer sampling of the injected channels (before conversions start). SMPR1 field of
    // channel x is at bit 3*x: CURR_U ch1, V_BUS ch2, CURR_W ch6, CURR_V ch7.
    ADC1->SMPR1 = (ADC1->SMPR1 & ~((7u << 3) | (7u << 6) | (7u << 18) | (7u << 21))) |
                  ((uint32_t)ADC_INJ_SMP << 3) | ((uint32_t)ADC_INJ_SMP << 6) |
                  ((uint32_t)ADC_INJ_SMP << 18) | ((uint32_t)ADC_INJ_SMP << 21);
#endif

    // The control interrupt: ADC1 injected sequence (phase currents, bus voltage), triggered by
    // TIM1 CC4 once per PWM period once the PWM runs (Start_PWM in the task)
    HAL_ADCEx_InjectedStart_IT(&hadc1);

    /* USER CODE END Init */

    /* Create the thread(s) */
    /* creation of defaultTask */
    defaultTaskHandle = osThreadNew(StartDefaultTask, NULL, &defaultTask_attributes);

}

/* USER CODE BEGIN Header_StartDefaultTask */
/**
 * @brief  Demo sequence: offsets, bus check, calibration, saliency sweep, speed test.
 * @param  argument: Not used
 * @retval None
 */
/* USER CODE END Header_StartDefaultTask */
void StartDefaultTask(void *argument)
{
    /* USER CODE BEGIN StartDefaultTask */
    printf("\r\n=======================================\r\nfoc-lib demo\r\n");
    // Confirms the coast config from TIMER_config: OIS1N/2N/3N (CR2 bits 9/11/13) set, AOE (BDTR bit 14) clear
    printf("TIM1 CR2 = 0x%08lx, BDTR = 0x%08lx\r\n", (unsigned long)TIM1->CR2, (unsigned long)TIM1->BDTR);
    osDelay(1000); // Let the supply and the sense amplifiers settle

    // Step 1: PWM on, so the ISR samples the currents (the bridge stays off: FOC_Init left
    //         outputs_enabled false), then the zero-current offsets
    Start_PWM();
    osDelay(50);
    Measure_Current_Offsets();
    printf("PWM resolution %d, Vbus %f V\r\n=======================================\r\n", foc.pwm_resolution,
           foc.v_bus);

    // Step 2: bus voltage; without it, stop here
    if (!Bus_Voltage_OK())
    {
        for (;;)
            osDelay(1000);
    }

    // Step 3: calibration (Rs, Ld, Lq)
    Calibrate();

#if RUN_SALIENCY_SWEEP
    // Step 4: saliency sweep (diagnostic)
    Saliency_Sweep();
#endif

#if RUN_FOC_TEST
    // Step 5: speed test
    Speed_Test();
#else
    printf("FOC run skipped (RUN_FOC_TEST = 0)\r\n");
#endif

    // Done: the drive is stopped; the ISR keeps sampling with the bridge off
    for (;;)
    {
        osDelay(5000);
    }
    /* USER CODE END StartDefaultTask */
}

/* USER CODE BEGIN Application */

// ============================================================================
// Control interrupt
// ============================================================================
// ADC1 injected end of sequence, once per PWM period (TIM1 CC4). This is the whole contract with
// foc-lib: ADC counts in, FOC_Update, compare values and bridge state out.
// FOC_FAST_CODE: runs from CCM SRAM together with FOC_Update (this port's Inc/foc_lib_conf.h).
FOC_FAST_CODE void HAL_ADCEx_InjectedConvCpltCallback(ADC_HandleTypeDef *hadc)
{
    if (hadc->Instance != ADC1)
        return;

    const uint32_t cyc0 = DWT->CYCCNT;
    GPIOC->BSRR = GPIO_PIN_8; // PC8 high for the callback's duration (scope timing)

    // Injected ranks 1-4 are JDR1-4 (what HAL_ADCEx_InjectedGetValue returns, without the call)
    foc.adc_v_a = ADC1->JDR1;
    foc.adc_v_b = ADC1->JDR2;
    foc.adc_v_c = ADC1->JDR3;
    foc.adc_v_bus = ADC1->JDR4;

    FOC_Update(&foc);

    TIM1->CCR1 = foc.pwm_a;
    TIM1->CCR2 = foc.pwm_b;
    TIM1->CCR3 = foc.pwm_c;

    // Bridge state (gate pins, see Bridge_Outputs). MOE is left alone: an over-current break
    // clears it and, with AOE off, it stays latched off.
    static bool outputs_were_enabled = false;
    if (foc.outputs_enabled && !outputs_were_enabled)
        Bridge_Outputs(true);
    else if (!foc.outputs_enabled)
        Bridge_Outputs(false);
    outputs_were_enabled = foc.outputs_enabled;

    GPIOC->BSRR = (uint32_t)GPIO_PIN_8 << 16; // PC8 low
    const uint32_t cyc1 = DWT->CYCCNT;
    isr_cyc_last = cyc1 - cyc0;
    if (isr_cyc_last > isr_cyc_max)
        isr_cyc_max = isr_cyc_last;
    irq_cyc_last = cyc1 - irq_cyc0;
    if (irq_cyc_last > irq_cyc_max)
        irq_cyc_max = irq_cyc_last;
}

// Fast dispatch of the control interrupt, called first by ADC1_2_IRQHandler. The only ADC
// interrupt in use is ADC1's end of injected sequence (JEOS, TIM1 CC4 trigger), which this
// serves without HAL_ADC_IRQHandler; stm32f3xx_it.c calls that for ADC1 and for ADC2 (never
// started) and it scans every flag. For JEOS with an external trigger, HAL would only set the
// INJ_EOC state bit (nothing reads it), call the callback and clear JEOC/JEOS.
// Returns false for anything else, which then goes through the HAL handlers as before.
FOC_FAST_CODE bool ADC_IRQ_Fast_Dispatch(void)
{
    if ((ADC1->ISR & ADC_ISR_JEOS) == 0 || (ADC1->IER & ADC_IER_JEOSIE) == 0)
    {
        return false;
    }
    // rc_w1. Cleared before the callback so the write has landed long before the exception
    // returns (a late clear can re-pend the interrupt).
    ADC1->ISR = ADC_ISR_JEOC | ADC_ISR_JEOS;
    HAL_ADCEx_InjectedConvCpltCallback(&hadc1);
    return true;
}

/* USER CODE END Application */
